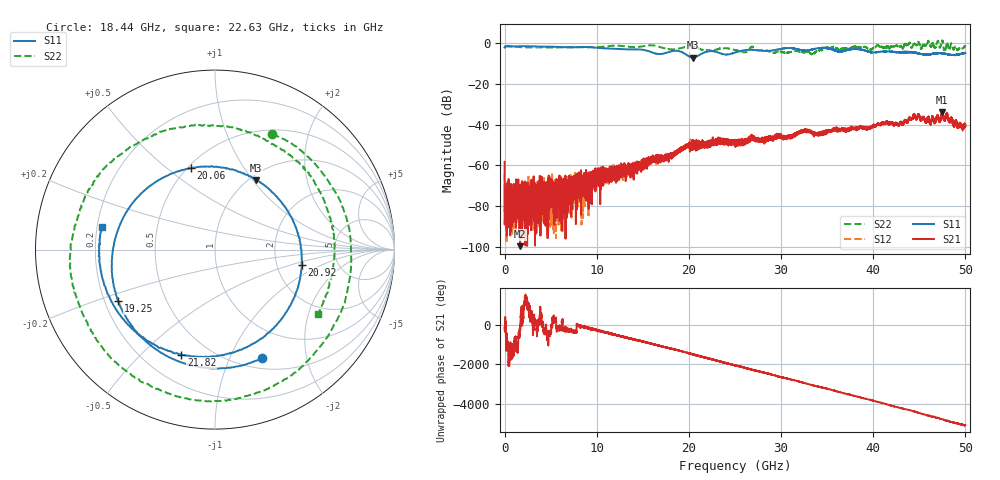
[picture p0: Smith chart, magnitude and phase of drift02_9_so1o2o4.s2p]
!Created with skrf (http://scikit-rf.org).
# Hz S RI R 50.0
!freq ReS11 ImS11 ReS21 ImS21 ReS12 ImS12 ReS22 ImS22
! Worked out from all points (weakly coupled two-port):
!   10001 points, 300 kHz to 50 GHz, reference 50 ohm
!   highest |S21| = -33.78 dB at 47.48 GHz (marker M1); lowest = -99.8 dB at 1.68 GHz (marker M2)
!   lowest |S11| = -7.0 dB at 20.4 GHz (marker M3), VSWR 2.63, Z = 53.5 + j51.9 ohm
!   |S11| at or under -10 dB: nowhere
!   |S22| runs from -5.3 to 1.5 dB; largest |S21 - S12| = 0.0032
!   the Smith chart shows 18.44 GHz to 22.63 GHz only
!   S11 on the Smith chart (normalised r, x): 18.44 GHz: 0.62, -1.32; 19.25 GHz: 0.26, -0.23; 20.06 GHz: 0.52, +0.61; 20.92 GHz: 2.76, -0.63; 21.82 GHz: 0.35, -0.67; 22.63 GHz: 0.22, +0.09
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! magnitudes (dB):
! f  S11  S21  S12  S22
! 300 kHz  -2.1  -58.3  -64.3  -1.3
! 255.3 MHz  -1.4  -77.6  -74.5  -1.4
! 1.68 GHz  -1.4  -99.8  -75.9  -1.8
! 4.42 GHz  -1.6  -79.6  -80.8  -2.0
! 4.955 GHz  -1.6  -69.5  -73.9  -2.0
! 5.48 GHz  -1.6  -77.1  -80.0  -2.0
! 8.335 GHz  -1.7  -75.5  -72.2  -1.9
! 16.67 GHz  -5.2  -59.1  -57.7  -1.5
! 18.44 GHz  -3.6  -55.0  -54.1  -2.9
! 19.25 GHz  -4.3  -51.2  -51.8  -2.1
! 20.06 GHz  -6.5  -50.4  -49.8  -1.5
! 20.4 GHz  -7.0  -49.5  -48.5  -1.7
! 20.92 GHz  -6.2  -48.7  -49.1  -2.3
! 21.82 GHz  -4.2  -49.6  -49.2  -3.5
! 22.63 GHz  -3.8  -48.9  -49.1  -3.4
! 25 GHz  -4.5  -47.9  -48.6  -3.2
! 26.9 GHz  -3.2  -46.1  -45.9  -1.7
! 33.34 GHz  -3.0  -43.8  -43.5  -5.2
! 34.9 GHz  -2.3  -43.4  -43.4  -2.1
! 41.67 GHz  -4.0  -38.8  -39.6  -2.4
! 47.48 GHz  -4.9  -33.8  -34.0  1.1
! 50 GHz  -4.7  -40.9  -40.9  -1.4
